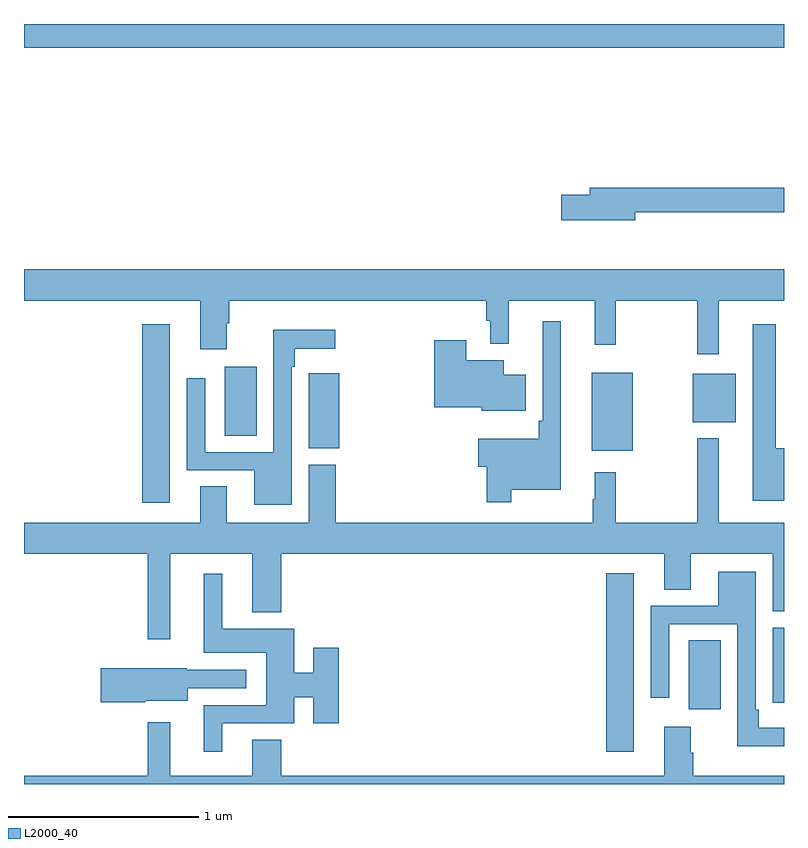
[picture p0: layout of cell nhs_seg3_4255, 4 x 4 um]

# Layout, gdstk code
import gdstk
lib = gdstk.Library(unit=1e-6, precision=1e-09)
def R(c, l, rs):  # rectangles x0, y0, x1, y1
    for r in rs: c.add(gdstk.rectangle(r[:2], r[2:], *l))
def P(c, l, *ps):  # polygons
    for p in ps: c.add(gdstk.Polygon(p, *l))
L2000_40 = (2000, 40)

nhs_seg3_4255 = lib.new_cell('nhs_seg3_4255')
R(nhs_seg3_4255, L2000_40, [(340.064,670.569,340.21,671.509), (340.499,670.794,340.666,671.156), (337.622,671.88,337.768,672.82), (339.989,672.155,340.204,672.565), (338.057,672.232,338.224,672.595), (340.52,672.305,340.747,672.559), (337,674.276,341,674.4)])
P(nhs_seg3_4255, L2000_40, [(340.216,673.41),(341,673.41),(341,673.538),(339.977,673.538),(339.977,673.502),(339.828,673.502),(339.828,673.367),(340.216,673.367)],
  [(340.657,672.944),(341,672.944),(341,673.108),(337,673.108),(337,672.944),(337.928,672.944),(337.928,672.687),(338.068,672.687),(338.068,672.824),(338.081,672.824),(338.081,672.944),(339.433,672.944),(339.433,672.837),(339.453,672.837),(339.453,672.716),(339.551,672.716),(339.551,672.944),(340.004,672.944),(340.004,672.711),(340.114,672.711),(340.114,672.944),(340.543,672.944),(340.543,672.663),(340.657,672.663)],
  [(339.565,671.948),(339.826,671.948),(339.826,672.835),(339.729,672.835),(339.729,672.313),(339.709,672.313),(339.709,672.217),(339.392,672.217),(339.392,672.07),(339.436,672.07),(339.436,671.883),(339.565,671.883)],
  [(341,672.167),(340.957,672.167),(340.957,672.82),(340.835,672.82),(340.835,671.891),(341,671.891)],
  [(338.409,672.596),(338.425,672.596),(338.425,672.692),(338.638,672.692),(338.638,672.79),(338.313,672.79),(338.313,672.147),(337.953,672.147),(337.953,672.535),(337.857,672.535),(337.857,672.051),(338.213,672.051),(338.213,671.87),(338.409,671.87)],
  [(339.64,672.553),(339.526,672.553),(339.526,672.631),(339.328,672.631),(339.328,672.736),(339.158,672.736),(339.158,672.383),(339.408,672.383),(339.408,672.365),(339.64,672.365)],
  [(338.66,672.562),(338.499,672.562),(338.499,672.449),(338.498,672.449),(338.498,672.166),(338.66,672.166)],
  [(340.37,671.422),(340.51,671.422),(340.51,671.612),(340.94,671.612),(340.94,671.308),(341,671.308),(341,671.776),(340.657,671.776),(340.657,672.22),(340.543,672.22),(340.543,671.776),(340.114,671.776),(340.114,672.04),(340.004,672.04),(340.004,671.9),(339.993,671.9),(339.993,671.776),(338.642,671.776),(338.642,672.081),(338.498,672.081),(338.498,671.776),(338.068,671.776),(338.068,671.966),(337.928,671.966),(337.928,671.776),(337,671.776),(337,671.612),(337.65,671.612),(337.65,671.163),(337.771,671.163),(337.771,671.612),(338.201,671.612),(338.201,671.303),(338.354,671.303),(338.354,671.612),(340.37,671.612)],
  [(341,670.696),(340.867,670.696),(340.867,670.792),(340.851,670.792),(340.851,671.518),(340.655,671.518),(340.655,671.337),(340.299,671.337),(340.299,670.854),(340.395,670.854),(340.395,671.241),(340.755,671.241),(340.755,670.598),(341,670.598)],
  [(338.044,670.719),(338.422,670.719),(338.422,670.857),(338.522,670.857),(338.522,670.719),(338.657,670.719),(338.657,671.116),(338.522,671.116),(338.522,670.985),(338.422,670.985),(338.422,671.218),(338.044,671.218),(338.044,671.506),(337.946,671.506),(337.946,671.09),(338.276,671.09),(338.276,670.815),(337.946,670.815),(337.946,670.569),(338.044,670.569)],
  [(341,671.223),(340.94,671.223),(340.94,670.939),(340.941,670.939),(340.941,670.827),(341,670.827)],
  [(337.638,670.838),(337.861,670.838),(337.861,670.905),(338.17,670.905),(338.17,671.001),(337.857,671.001),(337.857,671.009),(337.404,671.009),(337.404,670.831),(337.638,670.831)],
  [(341,670.444),(340.523,670.444),(340.523,670.565),(340.51,670.565),(340.51,670.702),(340.37,670.702),(340.37,670.444),(338.354,670.444),(338.354,670.634),(338.201,670.634),(338.201,670.444),(337.771,670.444),(337.771,670.726),(337.65,670.726),(337.65,670.444),(337,670.444),(337,670.4),(341,670.4)])

lib.write_gds('nhs_seg3_4255.gds')
